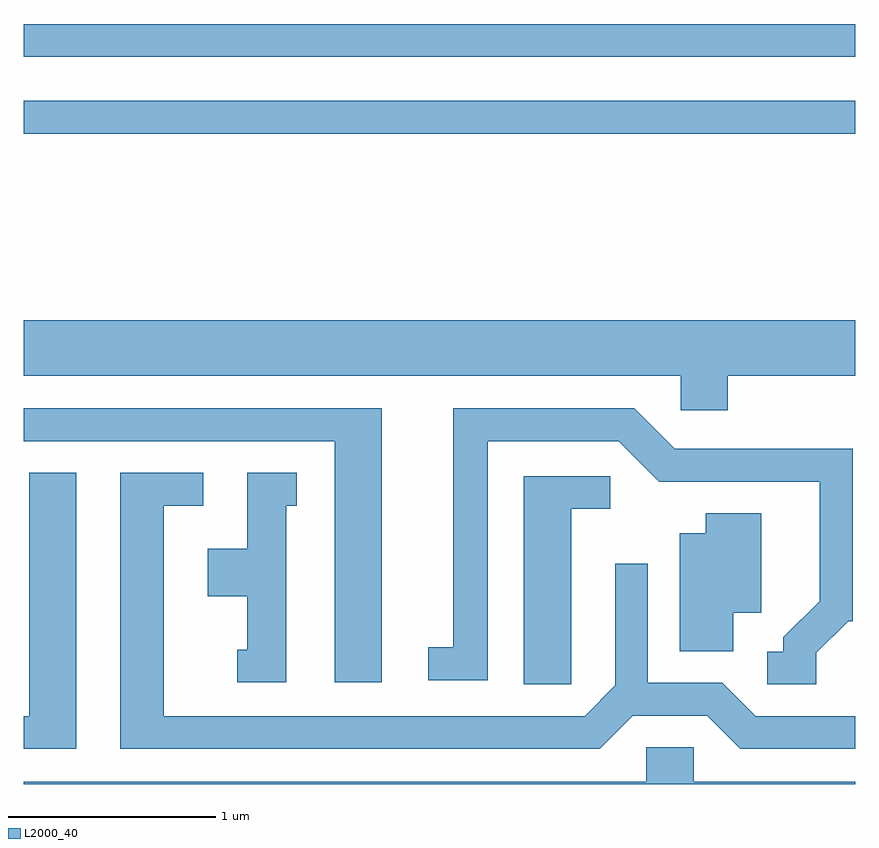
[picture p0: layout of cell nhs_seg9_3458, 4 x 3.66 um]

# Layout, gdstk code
import gdstk
lib = gdstk.Library(unit=1e-6, precision=1e-09)
def R(c, l, rs):  # rectangles x0, y0, x1, y1
    for r in rs: c.add(gdstk.rectangle(r[:2], r[2:], *l))
def P(c, l, *ps):  # polygons
    for p in ps: c.add(gdstk.Polygon(p, *l))
L2000_40 = (2000, 40)

nhs_seg9_3458 = lib.new_cell('nhs_seg9_3458')
R(nhs_seg9_3458, L2000_40, [(285.611,2079.561,289.611,2079.719), (285.611,2079.931,289.611,2080.089)])
P(nhs_seg9_3458, L2000_40, [(288.999,2078.396),(289.611,2078.396),(289.611,2078.664),(285.611,2078.664),(285.611,2078.396),(288.771,2078.396),(288.771,2078.231),(288.999,2078.231)],
  [(287.334,2078.239),(285.611,2078.239),(285.611,2078.081),(287.106,2078.081),(287.106,2076.921),(287.334,2076.921)],
  [(289.424,2077.064),(289.577,2077.216),(289.599,2077.216),(289.599,2078.044),(288.742,2078.044),(288.547,2078.239),(287.676,2078.239),(287.676,2077.089),(287.558,2077.089),(287.558,2076.931),(287.844,2076.931),(287.844,2078.081),(288.474,2078.081),(288.669,2077.886),(289.441,2077.886),(289.441,2077.312),(289.266,2077.137),(289.266,2077.069),(289.188,2077.069),(289.188,2076.911),(289.424,2076.911)],
  [(286.874,2077.771),(286.923,2077.771),(286.923,2077.929),(286.686,2077.929),(286.686,2077.564),(286.496,2077.564),(286.496,2077.336),(286.686,2077.336),(286.686,2077.079),(286.638,2077.079),(286.638,2076.921),(286.874,2076.921)],
  [(288.542,2076.761),(288.899,2076.761),(289.059,2076.601),(289.611,2076.601),(289.611,2076.759),(289.132,2076.759),(288.972,2076.919),(288.614,2076.919),(288.614,2077.492),(288.456,2077.492),(288.456,2076.907),(288.309,2076.759),(286.284,2076.759),(286.284,2077.771),(286.473,2077.771),(286.473,2077.929),(286.076,2077.929),(286.076,2076.601),(288.382,2076.601)],
  [(285.864,2077.929),(285.636,2077.929),(285.636,2076.759),(285.611,2076.759),(285.611,2076.601),(285.864,2076.601)],
  [(288.244,2077.756),(288.433,2077.756),(288.433,2077.914),(288.016,2077.914),(288.016,2076.911),(288.244,2076.911)],
  [(289.024,2077.256),(289.159,2077.256),(289.159,2077.734),(288.891,2077.734),(288.891,2077.639),(288.766,2077.639),(288.766,2077.071),(289.024,2077.071)],
  [(289.611,2076.444),(288.834,2076.444),(288.834,2076.609),(288.606,2076.609),(288.606,2076.444),(285.611,2076.444),(285.611,2076.432),(289.611,2076.432)])

lib.write_gds('nhs_seg9_3458.gds')
